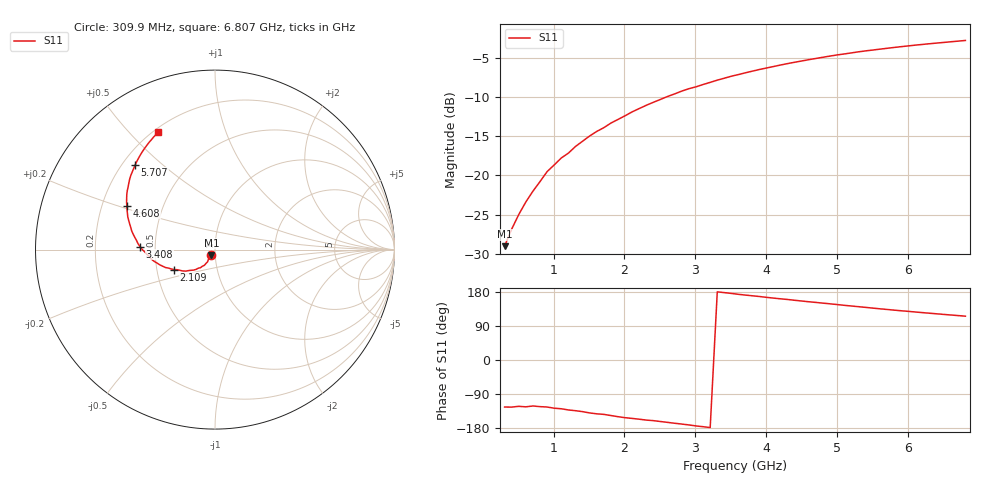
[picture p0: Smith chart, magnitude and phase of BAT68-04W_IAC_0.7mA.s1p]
! Infineon Technologies  Discrete & RF Semiconductors
! BAT68-04W
! IAC = 0.7 mA
! One-Port S-Parameters
# Hz  S  MA  R  50
!f  S11
!Hz  Mag  Ang
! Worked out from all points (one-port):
!   66 points, 309.9 MHz to 6.807 GHz, reference 50 ohm
!   lowest |S11| = -29.0 dB at 309.9 MHz (marker M1), VSWR 1.07, Z = 48 - j2.81 ohm
!   |S11| at or under -10 dB: start of sweep to 2.586 GHz
!   S11 on the Smith chart (normalised r, x): 309.9 MHz: 0.96, -0.06; 2.109 GHz: 0.61, -0.15; 3.408 GHz: 0.41, +0.02; 4.608 GHz: 0.31, +0.21; 5.707 GHz: 0.25, +0.41; 6.807 GHz: 0.22, +0.61
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3.0985e8  0.03532 -124.1
4.098e8  0.04541 -124.2
5.0975e8  0.05627 -122.3
6.097e8  0.06772 -123.5
7.0965e8  0.07933 -121.3
9.0955e8  0.1057 -124.1
1.10945e9  0.1292 -128.7
1.2094e9  0.1388 -131.8
1.30935e9  0.153 -133.8
1.50925e9  0.1785 -139.7
1.70915e9  0.2018 -143.5
1.8091e9  0.2159 -146.5
2.009e9  0.2404 -152.3
2.10895e9  0.2546 -154.2
2.4088e9  0.2932 -160.0
2.8086e9  0.3455 -169.1
3.4083e9  0.4176 177.8
3.6082e9  0.4406 173.3
3.90805e9  0.4751 167.5
4.4078e9  0.5286 157.4
4.6077e9  0.5491 153.5
4.90755e9  0.5791 148.1
5.2074e9  0.6065 142.3
5.4073e9  0.6245 138.8
5.70715e9  0.6485 133.3
6.007e9  0.6717 128.2
6.4068e9  0.7002 121.8
6.8066e9  0.7273 115.7
